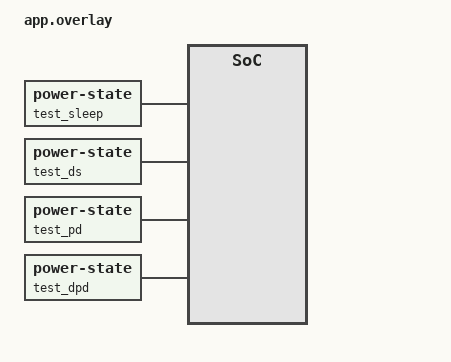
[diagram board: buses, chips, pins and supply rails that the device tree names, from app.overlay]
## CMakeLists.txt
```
# SPDX-FileCopyrightText: Copyright 2026 NXP
# SPDX-License-Identifier: Apache-2.0

cmake_minimum_required(VERSION 3.20.0)
list(APPEND DTS_ROOT "${CMAKE_CURRENT_SOURCE_DIR}")
find_package(Zephyr REQUIRED HINTS $ENV{ZEPHYR_BASE})
project(mcux_wwdt_pm)

target_include_directories(app PRIVATE
  "${CMAKE_CURRENT_SOURCE_DIR}/include"
  "${ZEPHYR_BASE}/drivers/watchdog"
  "${ZEPHYR_BASE}/subsys/task_wdt"
  "${ZEPHYR_BASE}/subsys/pm"
)
target_compile_definitions(app PRIVATE
  CONFIG_SOC_FAMILY_MCXN=1
  CONFIG_WDT_MCUX_WWDT_WARNING_INTERRUPT_CFG=0
)
target_sources(app PRIVATE
  src/main.c
  src/task_wdt_test.c
)
```

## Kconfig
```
# SPDX-FileCopyrightText: Copyright 2026 NXP
# SPDX-License-Identifier: Apache-2.0

source "Kconfig.zephyr"

config TEST_PROVIDE_PM_HOOKS
	bool
	default y
	select HAS_PM
```

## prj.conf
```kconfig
# SPDX-FileCopyrightText: Copyright 2026 NXP
# SPDX-License-Identifier: Apache-2.0

CONFIG_ZTEST=y
CONFIG_ZTEST_NO_YIELD=y
CONFIG_WATCHDOG=y
CONFIG_CLOCK_CONTROL=y
CONFIG_REBOOT=y
CONFIG_PM=y
CONFIG_PM_DEVICE=y
CONFIG_PM_DEVICE_RUNTIME=y
CONFIG_PM_DEVICE_SYSTEM_MANAGED=y
CONFIG_PM_POLICY_DEVICE_CONSTRAINTS=y
CONFIG_LOG=y
CONFIG_LOG_MODE_IMMEDIATE=y
CONFIG_MAIN_STACK_SIZE=4096
```

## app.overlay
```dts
/*
 * SPDX-FileCopyrightText: Copyright 2026 NXP
 * SPDX-License-Identifier: Apache-2.0
 */

/ {
	test_sleep: test-sleep {
		compatible = "zephyr,power-state";
		power-state-name = "runtime-idle";
	};
	test_ds: test-ds {
		compatible = "zephyr,power-state";
		power-state-name = "suspend-to-idle";
	};
	test_pd: test-pd {
		compatible = "zephyr,power-state";
		power-state-name = "standby";
	};
	test_dpd: test-dpd {
		compatible = "zephyr,power-state";
		power-state-name = "suspend-to-ram";
	};
	wwdt0: watchdog0 {
		compatible = "test-wwdt-pm";
		zephyr,disabling-power-states = <&test_ds &test_pd &test_dpd>;
	};
	wwdt1: watchdog1 {
		compatible = "test-wwdt-pm";
		zephyr,disabling-power-states = <&test_ds &test_pd &test_dpd>;
	};
};

&{/cpus/cpu@0} {
	cpu-power-states = <&test_sleep &test_ds &test_pd &test_dpd>;
};
```

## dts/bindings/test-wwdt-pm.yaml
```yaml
# SPDX-FileCopyrightText: Copyright 2026 NXP
# SPDX-License-Identifier: Apache-2.0

description: RAM-backed watchdog used to test MCX power management
compatible: "test-wwdt-pm"
include: base.yaml
```

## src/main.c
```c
/*
 * SPDX-FileCopyrightText: Copyright 2026 NXP
 * SPDX-License-Identifier: Apache-2.0
 */

#include <string.h>
#include <zephyr/pm/device_runtime.h>
#include <zephyr/pm/pm.h>
#include <zephyr/ztest.h>
#include "device_system_managed.h"

/* No production DT instances: the test devices below use RAM register blocks. */
#include "wdt_mcux_wwdt.c"

static uint32_t dividers[2] = {1U, 1U};
static uint32_t divider_writes;
static uint32_t init_calls;
static uint32_t feed_calls;
static uint32_t deinit_calls;
static uint32_t callbacks;
static bool gates[2];
static int on_error;
static int off_error;
static bool halt_fails;
static void (*init_hook)(void);

static int clock_index(clock_control_subsys_t subsys)
{
	if ((uint32_t)subsys == MCUX_WWDT0_CLK) {
		return 0;
	}
	if ((uint32_t)subsys == MCUX_WWDT1_CLK) {
		return 1;
	}
	return -EINVAL;
}

static int clock_on(const struct device *dev, clock_control_subsys_t subsys)
{
	int index = clock_index(subsys);

	ARG_UNUSED(dev);
	if (on_error != 0) {
		return on_error;
	}
	if (index < 0) {
		return index;
	}
	gates[index] = true;
	return 0;
}

static int clock_off(const struct device *dev, clock_control_subsys_t subsys)
{
	int index = clock_index(subsys);

	ARG_UNUSED(dev);
	if (off_error != 0) {
		return off_error;
	}
	if (index < 0) {
		return index;
	}
	gates[index] = false;
	return 0;
}

static int clock_rate(const struct device *dev, clock_control_subsys_t subsys, uint32_t *rate)
{
	int index = clock_index(subsys);

	ARG_UNUSED(dev);
	if (index < 0) {
		return index;
	}
	if (dividers[index] == 0U) {
		return -EINVAL;
	}
	*rate = 1000000U / dividers[index];
	return 0;
}

static DEVICE_API(clock_control, clock_api) = {
	.on = clock_on,
	.off = clock_off,
	.get_rate = clock_rate,
};

DEVICE_DEFINE(test_clock, "test_clock", NULL, NULL, NULL, NULL, POST_KERNEL, 60, &clock_api);

void CLOCK_SetClkDiv(enum clock_div_name divider, uint32_t value)
{
	divider_writes++;
	if ((value != 0U) || !halt_fails) {
		dividers[divider] = value;
	}
}

uint32_t CLOCK_GetClkDiv(enum clock_div_name divider)
{
	return dividers[divider];
}

void WWDT_GetDefaultConfig(wwdt_config_t *config)
{
	*config = (wwdt_config_t){
		.enableWwdt = true,
		.timeoutValue = 0xFFFFFFU,
		.windowValue = 0xFFFFFFU,
	};
}

void WWDT_Init(WWDT_Type *base, const wwdt_config_t *config)
{
	init_calls++;
	if (init_hook != NULL) {
		init_hook();
	}
	base->MOD = WWDT_MOD_WDEN_MASK | (config->enableWatchdogReset ? WWDT_MOD_WDRESET_MASK : 0U);
	base->TC = config->timeoutValue;
	base->WINDOW = config->windowValue;
	base->WARNINT = config->warningValue;
	base->TV = base->TC;
}

void WWDT_Deinit(WWDT_Type *base)
{
	ARG_UNUSED(base);
	deinit_calls++;
}

void WWDT_Refresh(WWDT_Type *base)
{
	feed_calls++;
	base->TV = base->TC;
}

uint32_t WWDT_GetStatusFlags(WWDT_Type *base)
{
	return base->MOD & (WWDT_MOD_WDTOF_MASK | WWDT_MOD_WDINT_MASK);
}

void WWDT_ClearStatusFlags(WWDT_Type *base, uint32_t flags)
{
	base->MOD &= ~flags;
}

static void test_irq_config(const struct device *dev)
{
	const struct mcux_wwdt_config *config = dev->config;

	irq_disable(config->irq);
}

#define TEST_WWDT(n, clock_id)                                                                     \
	static WWDT_Type registers_##n;                                                            \
	static struct mcux_wwdt_data data_##n;                                                     \
	static const struct mcux_wwdt_config config_##n = {                                        \
		.base = &registers_##n,                                                            \
		.clk_divider = 4U,                                                                 \
		.clock_dev = DEVICE_GET(test_clock),                                               \
		.clock_subsys = (clock_control_subsys_t)clock_id,                                  \
		.irq_config_func = test_irq_config,                                                \
		.irq = 40U + n,                                                                    \
	};                                                                                         \
	PM_DEVICE_DT_DEFINE(DT_NODELABEL(wwdt##n), mcux_wwdt_driver_pm_action);                    \
	DEVICE_DT_DEFINE(DT_NODELABEL(wwdt##n), mcux_wwdt_init,                                    \
			 PM_DEVICE_DT_GET(DT_NODELABEL(wwdt##n)), &data_##n, &config_##n,          \
			 POST_KERNEL, 80, &mcux_wwdt_api)

TEST_WWDT(0, MCUX_WWDT0_CLK);
TEST_WWDT(1, MCUX_WWDT1_CLK);

static const struct device *const dev = DEVICE_DT_GET(DT_NODELABEL(wwdt0));
static const struct device *const other = DEVICE_DT_GET(DT_NODELABEL(wwdt1));

void pm_state_set(enum pm_state state, uint8_t substate_id)
{
	ARG_UNUSED(state);
	ARG_UNUSED(substate_id);
}

void pm_state_exit_post_ops(enum pm_state state, uint8_t substate_id)
{
	ARG_UNUSED(state);
	ARG_UNUSED(substate_id);
}

static void callback(const struct device *wdt, int channel)
{
	zassert_equal(wdt, dev);
	zassert_equal(channel, 0);
	callbacks++;
}

static const struct wdt_timeout_cfg timeout = {
	.window = {.min = 200U, .max = 1000U},
	.flags = WDT_FLAG_RESET_NONE,
	.callback = callback,
};

static void assert_state(const struct device *wdt, enum pm_device_state expected)
{
	enum pm_device_state state;

	zassert_ok(pm_device_state_get(wdt, &state));
	zassert_equal(state, expected);
}

static void assert_constraints(bool held)
{
	zassert_equal(pm_policy_state_lock_is_active(PM_STATE_SUSPEND_TO_IDLE, 0U), held);
	zassert_equal(pm_policy_state_lock_is_active(PM_STATE_STANDBY, 0U), held);
	zassert_equal(pm_policy_state_lock_is_active(PM_STATE_SUSPEND_TO_RAM, 0U), held);
	zassert_false(pm_policy_state_lock_is_active(PM_STATE_RUNTIME_IDLE, 0U));
}

static void reset_instance(const struct device *wdt)
{
	struct mcux_wwdt_data *data = wdt->data;
	const struct mcux_wwdt_config *config = wdt->config;

	/* Model a cold reset, not a supported software stop of a running WWDT. */
	data->started = false;
	data->starting = false;
	data->faulted = false;
	data->disabled = false;
	*config->base = (WWDT_Type){.TC = 0xFFU, .TV = 0xFFU, .WINDOW = 0xFFFFFFU};
	if (data->power_locked) {
		pm_policy_device_power_lock_put(wdt);
		data->power_locked = false;
	}
	zassert_ok(pm_device_runtime_disable(wdt));
	memset(data, 0, sizeof(*data));
	wdt->pm_base->state = PM_DEVICE_STATE_ACTIVE;
	atomic_clear_bit(&wdt->pm_base->flags, PM_DEVICE_FLAG_TURN_ON_FAILED);
	zassert_ok(pm_device_action_run(wdt, PM_DEVICE_ACTION_SUSPEND));
	zassert_ok(pm_device_action_run(wdt, PM_DEVICE_ACTION_RESUME));
}

static void before(void *fixture)
{
	ARG_UNUSED(fixture);
	on_error = 0;
	off_error = 0;
	halt_fails = false;
	init_hook = NULL;
	reset_instance(dev);
	reset_instance(other);
	assert_constraints(false);
	init_calls = 0U;
	feed_calls = 0U;
	deinit_calls = 0U;
	divider_writes = 0U;
	callbacks = 0U;
}

static void start(const struct device *wdt)
{
	zassert_equal(wdt_install_timeout(wdt, &timeout), 0);
	zassert_ok(wdt_setup(wdt, 0));
}

ZTEST(wwdt_pm, test_options_and_error_precedence)
{
	const uint8_t options[] = {
		WDT_OPT_PAUSE_IN_SLEEP,
		WDT_OPT_PAUSE_HALTED_BY_DBG,
		BIT(7),
	};
	WWDT_Type initial = registers_0;

	zassert_equal(wdt_setup(dev, WDT_OPT_PAUSE_IN_SLEEP), -EINVAL);
	zassert_equal(wdt_install_timeout(dev, &timeout), 0);
	for (size_t i = 0U; i < ARRAY_SIZE(options); i++) {
		zassert_equal(wdt_setup(dev, options[i]), -ENOTSUP);
	}
	zassert_mem_equal(&registers_0, &initial, sizeof(initial));
	zassert_equal(init_calls, 0U);
	assert_constraints(false);
	zassert_ok(wdt_setup(dev, 0));
}

ZTEST(wwdt_pm, test_setup_owns_exactly_one_constraint)
{
	start(dev);
	assert_constraints(true);
	zassert_equal(init_calls, 1U);
	zassert_equal(registers_0.TC, 62500U);
	zassert_equal(registers_0.WINDOW, 50000U);
	registers_0.TV = 10000U;
	uint32_t writes = divider_writes;

	zassert_equal(wdt_setup(dev, 0), -EBUSY);
	zassert_equal(wdt_install_timeout(dev, &timeout), -EBUSY);
	zassert_equal(registers_0.TV, 10000U);
	zassert_equal(divider_writes, writes);
	zassert_equal(init_calls, 1U);
	zassert_ok(wdt_feed(dev, 0));
	zassert_equal(feed_calls, 1U);
	zassert_equal(registers_0.TV, registers_0.TC);
	reset_instance(dev);
	assert_constraints(false);
}

ZTEST(wwdt_pm, test_policy_excludes_only_incompatible_states)
{
	const struct pm_state_info *next = pm_policy_next_state(0U, K_TICKS_FOREVER);

	zassert_not_null(next);
	zassert_equal(next->state, PM_STATE_SUSPEND_TO_RAM);
	start(dev);
	next = pm_policy_next_state(0U, K_TICKS_FOREVER);
	zassert_not_null(next);
	zassert_equal(next->state, PM_STATE_RUNTIME_IDLE);
}

ZTEST(wwdt_pm, test_running_suspend_preserves_state)
{
	start(dev);
	registers_0.TV = 10000U;
	zassert_equal(pm_device_action_run(dev, PM_DEVICE_ACTION_SUSPEND), -ENOTSUP);
	assert_state(dev, PM_DEVICE_STATE_ACTIVE);
	zassert_true(gates[0]);
	zassert_true(data_0.timeout_valid);
	zassert_equal(data_0.callback, callback);
	zassert_equal(registers_0.TV, 10000U);
	zassert_equal(deinit_calls, 0U);
	assert_constraints(true);
}

ZTEST(wwdt_pm, test_disable_uninstalls_without_feed_or_restart)
{
	start(dev);
	registers_0.TV = 10000U;
	WWDT_Type saved = registers_0;

	zassert_ok(wdt_disable(dev));
	zassert_equal(dividers[0], 0U);
	zassert_true(data_0.disabled);
	zassert_false(data_0.started);
	zassert_false(data_0.timeout_valid);
	zassert_is_null(data_0.callback);
	zassert_false(irq_is_enabled(config_0.irq));
	assert_constraints(false);

	uint32_t writes = divider_writes;

	zassert_equal(wdt_disable(dev), -EFAULT);
	zassert_equal(wdt_feed(dev, 0), -EINVAL);
	zassert_equal(wdt_install_timeout(dev, &timeout), -ENOTSUP);
	zassert_equal(wdt_setup(dev, 0), -ENOTSUP);
	mcux_wwdt_isr(dev);
	zassert_mem_equal(&registers_0, &saved, sizeof(saved));
	zassert_equal(divider_writes, writes);
	zassert_equal(init_calls, 1U);
	zassert_equal(feed_calls, 0U);
	zassert_equal(callbacks, 0U);
	zassert_equal(deinit_calls, 0U);
}

ZTEST(wwdt_pm, test_failed_clock_halt_keeps_ownership)
{
	start(dev);
	halt_fails = true;
	zassert_equal(wdt_disable(dev), -EIO);
	zassert_true(data_0.faulted);
	zassert_true(data_0.started);
	zassert_true(data_0.timeout_valid);
	zassert_false(data_0.disabled);
	zassert_equal(data_0.callback, callback);
	zassert_equal(dividers[0], 4U);
	assert_constraints(true);
	zassert_equal(wdt_feed(dev, 0), -EIO);
	zassert_equal(wdt_disable(dev), -EIO);
}

ZTEST(wwdt_pm, test_disabled_runtime_cycle_keeps_clock_halted)
{
	zassert_ok(pm_device_runtime_enable(dev));
	zassert_ok(pm_device_runtime_get(dev));
	start(dev);
	zassert_ok(wdt_disable(dev));
	uint32_t writes = divider_writes;

	zassert_ok(pm_device_runtime_put(dev));
	assert_state(dev, PM_DEVICE_STATE_SUSPENDED);
	zassert_false(gates[0]);
	zassert_equal(pm_device_runtime_usage(dev), 0);
	zassert_ok(pm_device_runtime_get(dev));
	assert_state(dev, PM_DEVICE_STATE_ACTIVE);
	zassert_false(irq_is_enabled(config_0.irq));
	zassert_equal(dividers[0], 0U);
	zassert_equal(divider_writes, writes);
	zassert_equal(init_calls, 1U);
	zassert_equal(feed_calls, 0U);
	assert_constraints(false);
	zassert_ok(pm_device_runtime_put(dev));
}

ZTEST(wwdt_pm, test_disabled_domain_cycle_never_replays)
{
	start(dev);
	zassert_ok(wdt_disable(dev));
	uint32_t writes = divider_writes;

	for (int retained = 1; retained >= 0; retained--) {
		zassert_ok(pm_device_action_run(dev, PM_DEVICE_ACTION_SUSPEND));
		zassert_ok(pm_device_action_run(dev, PM_DEVICE_ACTION_TURN_OFF));
		if (!retained) {
			registers_0 = (WWDT_Type){.TC = 0xFFU, .TV = 0xFFU};
			dividers[0] = 1U;
		}
		zassert_ok(pm_device_action_run(dev, PM_DEVICE_ACTION_TURN_ON));
		zassert_false(gates[0]);
		zassert_ok(pm_device_action_run(dev, PM_DEVICE_ACTION_RESUME));
		zassert_true(data_0.disabled);
		zassert_false(data_0.faulted);
		zassert_false(irq_is_enabled(config_0.irq));
		zassert_equal(wdt_setup(dev, 0), -ENOTSUP);
		zassert_equal(wdt_install_timeout(dev, &timeout), -ENOTSUP);
	}
	zassert_equal(divider_writes, writes);
	zassert_equal(init_calls, 1U);
	zassert_equal(feed_calls, 0U);
	assert_constraints(false);
}

ZTEST(wwdt_pm, test_disabled_clock_restart_is_reported)
{
	start(dev);
	zassert_ok(wdt_disable(dev));
	zassert_ok(pm_device_action_run(dev, PM_DEVICE_ACTION_SUSPEND));
	dividers[0] = 1U;
	zassert_equal(pm_device_action_run(dev, PM_DEVICE_ACTION_RESUME), -EIO);
	zassert_true(data_0.faulted);
	zassert_false(irq_is_enabled(config_0.irq));
	zassert_equal(wdt_feed(dev, 0), -EIO);
	zassert_equal(init_calls, 1U);
	zassert_equal(feed_calls, 0U);
}

ZTEST(wwdt_pm, test_disabled_suspend_error_keeps_irq_masked)
{
	start(dev);
	zassert_ok(wdt_disable(dev));
	off_error = -EIO;
	zassert_equal(pm_device_action_run(dev, PM_DEVICE_ACTION_SUSPEND), -EIO);
	zassert_false(irq_is_enabled(config_0.irq));
	zassert_equal(dividers[0], 0U);
	assert_state(dev, PM_DEVICE_STATE_ACTIVE);
}

ZTEST(wwdt_pm, test_runtime_failed_put_keeps_ownership)
{
	zassert_ok(pm_device_runtime_enable(dev));
	assert_state(dev, PM_DEVICE_STATE_SUSPENDED);
	zassert_false(gates[0]);
	zassert_equal(wdt_install_timeout(dev, &timeout), 0);
	zassert_equal(wdt_setup(dev, 0), -EBUSY);
	zassert_equal(init_calls, 0U);
	zassert_ok(pm_device_runtime_get(dev));
	zassert_ok(wdt_setup(dev, 0));
	zassert_equal(pm_device_runtime_put(dev), -ENOTSUP);
	assert_state(dev, PM_DEVICE_STATE_ACTIVE);
	zassert_equal(pm_device_runtime_usage(dev), 1);
	zassert_ok(wdt_feed(dev, 0));
	assert_constraints(true);
}

ZTEST(wwdt_pm, test_rejected_option_can_release_runtime_reference)
{
	zassert_ok(pm_device_runtime_enable(dev));
	zassert_ok(pm_device_runtime_get(dev));
	zassert_equal(wdt_install_timeout(dev, &timeout), 0);
	zassert_equal(wdt_setup(dev, WDT_OPT_PAUSE_IN_SLEEP), -ENOTSUP);
	zassert_ok(pm_device_runtime_put(dev));
	assert_state(dev, PM_DEVICE_STATE_SUSPENDED);
	zassert_false(gates[0]);
	assert_constraints(false);
}

ZTEST(wwdt_pm, test_idle_feed_never_touches_hardware)
{
	zassert_ok(pm_device_action_run(dev, PM_DEVICE_ACTION_SUSPEND));
	zassert_equal(wdt_feed(dev, 0), -EINVAL);
	zassert_equal(wdt_feed(dev, 1), -EINVAL);
	zassert_equal(wdt_disable(dev), -EFAULT);
	zassert_false(gates[0]);
	zassert_equal(feed_calls, 0U);
	zassert_equal(deinit_calls, 0U);
}

ZTEST(wwdt_pm, test_idle_power_cycle_preserves_installed_request)
{
	zassert_equal(wdt_install_timeout(dev, &timeout), 0);
	wwdt_config_t saved = data_0.wwdt_config;

	zassert_ok(pm_device_action_run(dev, PM_DEVICE_ACTION_SUSPEND));
	zassert_ok(pm_device_action_run(dev, PM_DEVICE_ACTION_TURN_OFF));
	registers_0 = (WWDT_Type){.TC = 0xFFU, .TV = 0xFFU};
	dividers[0] = 1U;
	zassert_ok(pm_device_action_run(dev, PM_DEVICE_ACTION_TURN_ON));
	assert_state(dev, PM_DEVICE_STATE_SUSPENDED);
	zassert_false(gates[0]);
	zassert_equal(registers_0.MOD, 0U);
	zassert_equal(init_calls, 0U);
	zassert_equal(dividers[0], 4U);
	zassert_mem_equal(&data_0.wwdt_config, &saved, sizeof(saved));
	zassert_equal(data_0.callback, callback);
	zassert_ok(pm_device_action_run(dev, PM_DEVICE_ACTION_RESUME));
	zassert_ok(wdt_setup(dev, 0));
	zassert_equal(registers_0.TC, saved.timeoutValue);
}

ZTEST(wwdt_pm, test_resume_and_suspend_clock_errors)
{
	zassert_ok(pm_device_action_run(dev, PM_DEVICE_ACTION_SUSPEND));
	on_error = -EIO;
	zassert_equal(pm_device_action_run(dev, PM_DEVICE_ACTION_RESUME), -EIO);
	assert_state(dev, PM_DEVICE_STATE_SUSPENDED);
	zassert_false(gates[0]);
	on_error = 0;
	zassert_ok(pm_device_action_run(dev, PM_DEVICE_ACTION_RESUME));
	off_error = -EIO;
	zassert_equal(pm_device_action_run(dev, PM_DEVICE_ACTION_SUSPEND), -EIO);
	assert_state(dev, PM_DEVICE_STATE_ACTIVE);
	zassert_true(gates[0]);
	zassert_true(irq_is_enabled(config_0.irq));
	off_error = 0;
}

ZTEST(wwdt_pm, test_instances_own_overlapping_locks_independently)
{
	start(dev);
	start(other);
	zassert_equal(init_calls, 2U);
	zassert_ok(wdt_disable(dev));
	assert_constraints(true);
	zassert_true(data_1.started);
	zassert_equal(dividers[1], 4U);
	zassert_ok(wdt_disable(other));
	assert_constraints(false);
}

static void check_start_in_progress(void)
{
	zassert_false(irq_is_enabled(config_0.irq));
	assert_constraints(true);
	zassert_equal(wdt_setup(dev, 0), -EBUSY);
	zassert_equal(wdt_install_timeout(dev, &timeout), -EBUSY);
	zassert_equal(wdt_feed(dev, 0), -EAGAIN);
	zassert_equal(wdt_disable(dev), -EBUSY);
	zassert_equal(pm_device_action_run(dev, PM_DEVICE_ACTION_SUSPEND), -EBUSY);
	zassert_true(gates[0]);
}

ZTEST(wwdt_pm, test_start_serializes_control_and_pm)
{
	init_hook = check_start_in_progress;
	start(dev);
	zassert_true(irq_is_enabled(config_0.irq));
	zassert_false(data_0.starting);
	zassert_equal(feed_calls, 0U);
}

ZTEST(wwdt_pm, test_isr_preserves_callback_without_implicit_feed)
{
	start(dev);
	registers_0.MOD |= WWDT_MOD_WDINT_MASK;
	mcux_wwdt_isr(dev);
	zassert_equal(callbacks, 1U);
	zassert_equal(feed_calls, 0U);
	zassert_equal(registers_0.MOD & WWDT_MOD_WDINT_MASK, 0U);
	zassert_equal(data_0.callback, callback);
}

ZTEST(wwdt_pm, test_state_loss_is_fault_not_restart)
{
	start(dev);
	/* Inject an unsupported physical loss while the software ownership survives. */
	registers_0.MOD = 0U;
	dev->pm_base->state = PM_DEVICE_STATE_OFF;
	zassert_equal(pm_device_action_run(dev, PM_DEVICE_ACTION_TURN_ON), -EIO);
	zassert_equal(init_calls, 1U);
	zassert_equal(wdt_feed(dev, 0), -EIO);
	zassert_equal(wdt_setup(dev, 0), -EIO);
	zassert_equal(wdt_disable(dev), -EIO);
	zassert_false(gates[0]);
	assert_constraints(true);
}

ZTEST(wwdt_pm, test_bootloader_owned_watchdog_is_not_gated)
{
	registers_0.MOD = WWDT_MOD_WDEN_MASK;
	zassert_equal(mcux_wwdt_init(dev), -EIO);
	zassert_true(gates[0]);
	zassert_true(data_0.faulted);
	zassert_equal(init_calls, 0U);
	assert_constraints(false);
}

ZTEST(wwdt_pm, test_system_sweep_skips_running_watchdog)
{
	start(dev);
	zassert_true(pm_suspend_devices());
	assert_state(dev, PM_DEVICE_STATE_ACTIVE);
	zassert_true(gates[0]);
	pm_resume_devices();
	zassert_equal(init_calls, 1U);
	zassert_equal(feed_calls, 0U);
	assert_constraints(true);
}

ZTEST_SUITE(wwdt_pm, NULL, NULL, before, NULL, NULL);
```

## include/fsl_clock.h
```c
/*
 * SPDX-FileCopyrightText: Copyright 2026 NXP
 * SPDX-License-Identifier: Apache-2.0
 */

#ifndef TEST_FSL_CLOCK_H_
#define TEST_FSL_CLOCK_H_

#include <stdint.h>

typedef enum clock_div_name {
	kCLOCK_DivWdt0Clk,
	kCLOCK_DivWdt1Clk,
} clock_div_name_t;

void CLOCK_SetClkDiv(enum clock_div_name divider, uint32_t value);
uint32_t CLOCK_GetClkDiv(enum clock_div_name divider);

#endif
```

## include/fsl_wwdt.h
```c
/*
 * SPDX-FileCopyrightText: Copyright 2026 NXP
 * SPDX-License-Identifier: Apache-2.0
 */

#ifndef TEST_FSL_WWDT_H_
#define TEST_FSL_WWDT_H_

#include <stdbool.h>
#include <stdint.h>
#include <zephyr/sys/util.h>

#define WWDT_MOD_WDEN_MASK    BIT(0)
#define WWDT_MOD_WDRESET_MASK BIT(1)
#define WWDT_MOD_WDTOF_MASK   BIT(2)
#define WWDT_MOD_WDINT_MASK   BIT(3)
#define WWDT_TC_COUNT_MASK    0xFFFFFFU

typedef struct {
	uint32_t MOD;
	uint32_t TC;
	uint32_t FEED;
	uint32_t TV;
	uint32_t WARNINT;
	uint32_t WINDOW;
} WWDT_Type;

typedef struct {
	bool enableWwdt;
	bool enableWatchdogReset;
	bool enableWatchdogProtect;
	bool enableLockOscillator;
	uint32_t windowValue;
	uint32_t timeoutValue;
	uint32_t warningValue;
	uint32_t clockFreq_Hz;
} wwdt_config_t;

void WWDT_GetDefaultConfig(wwdt_config_t *config);
void WWDT_Init(WWDT_Type *base, const wwdt_config_t *config);
void WWDT_Deinit(WWDT_Type *base);
void WWDT_Refresh(WWDT_Type *base);
uint32_t WWDT_GetStatusFlags(WWDT_Type *base);
void WWDT_ClearStatusFlags(WWDT_Type *base, uint32_t flags);

#endif
```

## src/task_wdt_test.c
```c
/*
 * SPDX-FileCopyrightText: Copyright 2026 NXP
 * SPDX-License-Identifier: Apache-2.0
 */

#include <string.h>
#include <zephyr/pm/device.h>
#include <zephyr/pm/device_runtime.h>
#include <zephyr/ztest.h>

#define CONFIG_TASK_WDT_HW_FALLBACK       1
#define CONFIG_TASK_WDT_CHANNELS          2
#define CONFIG_TASK_WDT_MIN_TIMEOUT       10000
#define CONFIG_TASK_WDT_HW_FALLBACK_DELAY 20

#include "task_wdt.c"

static int install_result;
static int setup_result;
static int resume_result;
static int suspend_result;
static uint32_t install_count;
static uint32_t setup_count;
static uint32_t resume_count;

static int backend_setup(const struct device *dev, uint8_t options)
{
	ARG_UNUSED(dev);
	ARG_UNUSED(options);
	setup_count++;
	return setup_result;
}

static int backend_install(const struct device *dev, const struct wdt_timeout_cfg *cfg)
{
	ARG_UNUSED(dev);
	zassert_equal(cfg->flags, WDT_FLAG_RESET_SOC);
	install_count++;
	return install_result;
}

static int backend_feed(const struct device *dev, int channel)
{
	ARG_UNUSED(dev);
	zassert_equal(channel, 0);
	return 0;
}

static int backend_disable(const struct device *dev)
{
	ARG_UNUSED(dev);
	return -EPERM;
}

static int backend_pm(const struct device *dev, enum pm_device_action action)
{
	ARG_UNUSED(dev);
	if (action == PM_DEVICE_ACTION_RESUME) {
		resume_count++;
		return resume_result;
	}
	if (action == PM_DEVICE_ACTION_SUSPEND) {
		return suspend_result;
	}
	return 0;
}

static DEVICE_API(wdt, backend_api) = {
	.setup = backend_setup,
	.install_timeout = backend_install,
	.feed = backend_feed,
	.disable = backend_disable,
};
PM_DEVICE_DEFINE(backend_pm_data, backend_pm);
DEVICE_DEFINE(backend, "backend", NULL, PM_DEVICE_GET(backend_pm_data), NULL, NULL, POST_KERNEL, 80,
	      &backend_api);

static const struct device *const backend_dev = DEVICE_GET(backend);

static void before(void *fixture)
{
	ARG_UNUSED(fixture);
	resume_result = 0;
	suspend_result = 0;
	if (task_wdt_initialized) {
		k_timer_stop(&timer);
	}
	if (hw_wdt_ref_dev != NULL) {
		zassert_ok(pm_device_runtime_put(hw_wdt_ref_dev));
	}
	hw_wdt_dev = NULL;
	hw_wdt_ref_dev = NULL;
	hw_wdt_started = false;
	task_wdt_initialized = false;
	memset(channels, 0, sizeof(channels));
	zassert_ok(pm_device_runtime_disable(backend_dev));
	zassert_ok(pm_device_runtime_enable(backend_dev));
	install_result = 0;
	setup_result = 0;
	install_count = 0U;
	setup_count = 0U;
	resume_count = 0U;
}

static void after(void *fixture)
{
	ARG_UNUSED(fixture);
	if (task_wdt_initialized) {
		k_timer_stop(&timer);
	}
}

ZTEST(task_wdt_pm, test_setup_failure_rolls_back_channel)
{
	zassert_ok(task_wdt_init(backend_dev));
	setup_result = -ENOTSUP;
	zassert_equal(task_wdt_add(10000U, NULL, NULL), -ENOTSUP);
	zassert_false(hw_wdt_started);
	zassert_equal(channels[0].reload_period, 0U);
	zassert_equal(pm_device_runtime_usage(backend_dev), 1);
	setup_result = 0;
	zassert_equal(task_wdt_add(10000U, NULL, NULL), 0);
	zassert_true(hw_wdt_started);
	zassert_equal(setup_count, 2U);
	zassert_equal(resume_count, 1U);
}

ZTEST(task_wdt_pm, test_install_failure_releases_reference)
{
	install_result = -ENOMEM;
	zassert_equal(task_wdt_init(backend_dev), -ENOMEM);
	zassert_false(task_wdt_initialized);
	zassert_is_null(hw_wdt_ref_dev);
	zassert_is_null(hw_wdt_dev);
	zassert_equal(pm_device_runtime_usage(backend_dev), 0);
	install_result = 0;
	zassert_ok(task_wdt_init(backend_dev));
	zassert_equal(install_count, 2U);
	zassert_equal(pm_device_runtime_usage(backend_dev), 1);
}

ZTEST(task_wdt_pm, test_failed_cleanup_does_not_duplicate_reference)
{
	install_result = -ENOMEM;
	suspend_result = -EIO;
	zassert_equal(task_wdt_init(backend_dev), -ENOMEM);
	zassert_equal(hw_wdt_ref_dev, backend_dev);
	zassert_equal(pm_device_runtime_usage(backend_dev), 1);
	zassert_equal(task_wdt_init(NULL), -EBUSY);
	install_result = 0;
	suspend_result = 0;
	zassert_ok(task_wdt_init(backend_dev));
	zassert_equal(pm_device_runtime_usage(backend_dev), 1);
	zassert_equal(resume_count, 1U);
}

ZTEST(task_wdt_pm, test_repeated_init_keeps_one_reference)
{
	zassert_ok(task_wdt_init(backend_dev));
	zassert_equal(task_wdt_init(backend_dev), -EALREADY);
	zassert_equal(pm_device_runtime_usage(backend_dev), 1);
	zassert_equal(install_count, 1U);
	zassert_equal(resume_count, 1U);
}

ZTEST(task_wdt_pm, test_resume_failure_is_propagated)
{
	resume_result = -EIO;
	zassert_equal(task_wdt_init(backend_dev), -EIO);
	zassert_false(task_wdt_initialized);
	zassert_is_null(hw_wdt_ref_dev);
	zassert_equal(install_count, 0U);
	zassert_equal(pm_device_runtime_usage(backend_dev), 0);
	resume_result = 0;
}

ZTEST(task_wdt_pm, test_software_only_still_works)
{
	zassert_ok(task_wdt_init(NULL));
	zassert_equal(task_wdt_add(10000U, NULL, NULL), 0);
	zassert_equal(task_wdt_add(10000U, NULL, NULL), 1);
	zassert_equal(task_wdt_add(10000U, NULL, NULL), -ENOMEM);
	zassert_equal(install_count, 0U);
	zassert_equal(setup_count, 0U);
}

ZTEST_SUITE(task_wdt_pm, NULL, NULL, before, after, NULL);
```
